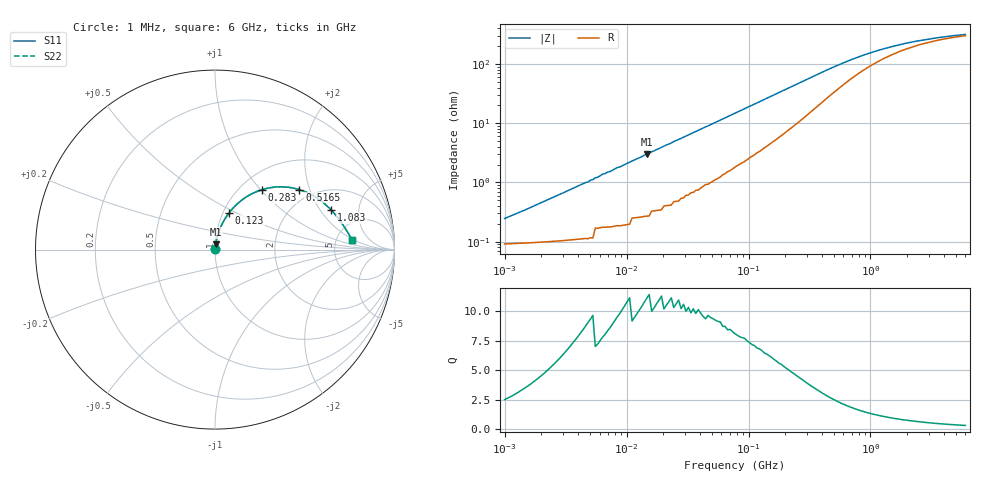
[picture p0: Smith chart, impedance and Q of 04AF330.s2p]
# MHz S MA R 50
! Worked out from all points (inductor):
!   189 points, 1 MHz to 6 GHz, reference 50 ohm
!   read as one part in series: L = 35.7 nH near 1.26 MHz
!   highest Q = 11.1 at 14.64 MHz (marker M1), where L = 32.5 nH
!   S11 on the Smith chart (normalised r, x): 1 MHz: 1.00, +0.00; 123 MHz: 1.07, +0.46; 283 MHz: 1.25, +1.01; 516.5 MHz: 1.70, +1.70; 1.083 GHz: 3.06, +2.54; 6 GHz: 7.04, +1.87
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1  0.002428 69.8  0.999 -0.1  0.999 -0.1  0.002428 69.8
4.396  0.009534 81.7  0.999 -0.5  0.999 -0.5  0.009534 81.7
4.823  0.01 82.0  0.999 -0.6  0.999 -0.6  0.01 82.0
5.051  0.011 82.1  0.999 -0.6  0.999 -0.6  0.011 82.1
5.803  0.012 82.5  0.998 -0.7  0.998 -0.7  0.012 82.5
6.366  0.014 82.6  0.998 -0.8  0.998 -0.8  0.014 82.6
7.314  0.015 82.9  0.998 -0.9  0.998 -0.9  0.015 82.9
8.403  0.018 83.0  0.998 -1.0  0.998 -1.0  0.018 83.0
8.801  0.018 83.0  0.998 -1.1  0.998 -1.1  0.018 83.0
14.642  0.03 82.9  0.997 -1.7  0.997 -1.7  0.03 82.9
18.454  0.037 82.5  0.996 -2.1  0.996 -2.1  0.037 82.5
77.46  0.144 74.8  0.972 -8.2  0.972 -8.2  0.144 74.8
123.039  0.218 69.2  0.945 -12.4  0.945 -12.4  0.218 69.2
186.599  0.31 61.9  0.897 -17.7  0.897 -17.7  0.31 61.9
282.995  0.422 52.1  0.812 -24.2  0.812 -24.2  0.422 52.1
340.538  0.474 47.1  0.761 -27.1  0.761 -27.1  0.474 47.1
516.457  0.577 35.4  0.626 -32.2  0.626 -32.2  0.577 35.4
714.019  0.635 27.2  0.523 -33.7  0.523 -33.7  0.635 27.2
1082.877  0.683 19.0  0.418 -32.1  0.418 -32.1  0.683 19.0
1429.415  0.705 14.8  0.366 -29.6  0.366 -29.6  0.705 14.8
2732.184  0.74 8.3  0.288 -21.8  0.288 -21.8  0.74 8.3
6000  0.766 4.1  0.242 -13.1  0.242 -13.1  0.766 4.1
